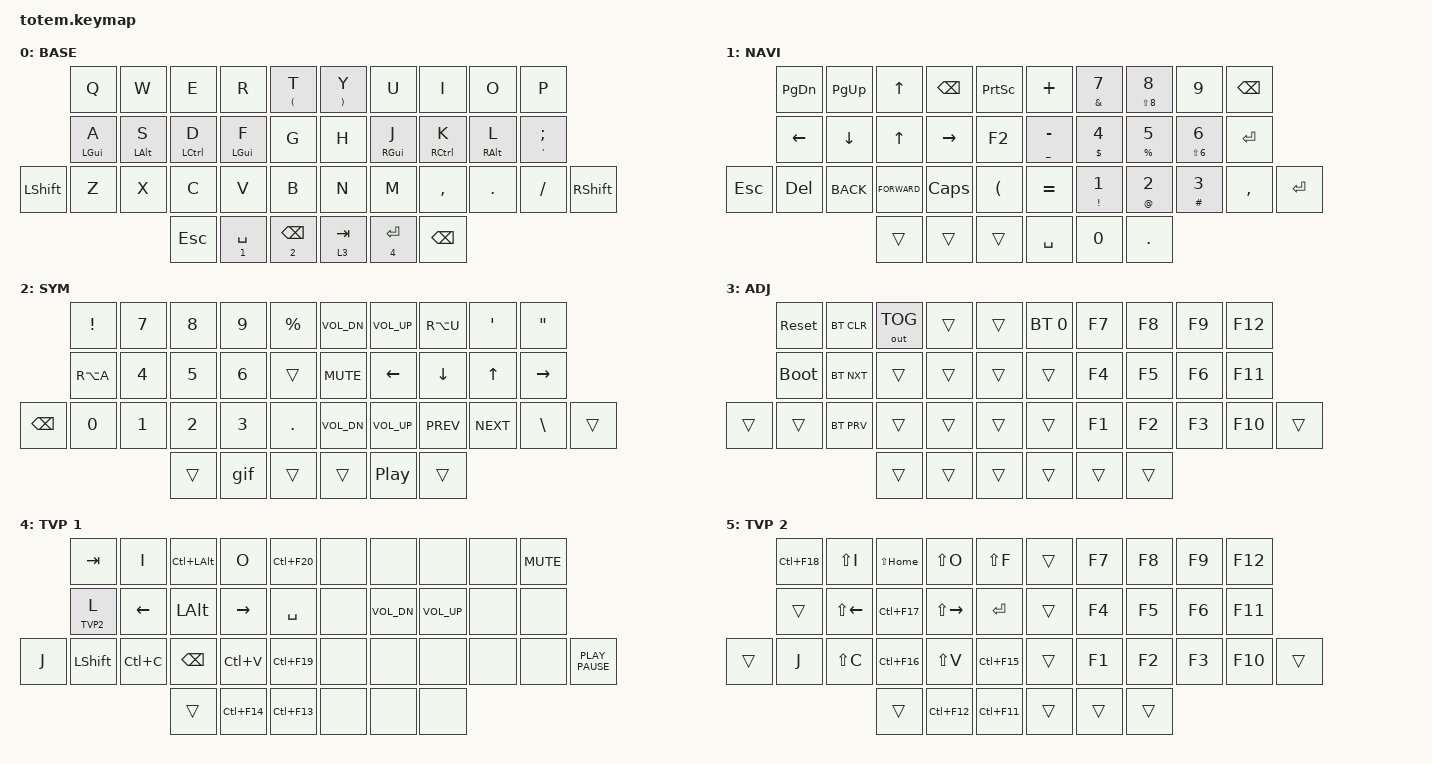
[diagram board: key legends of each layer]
//
//                                                        ▀▀▀▀▀     ▀▀▀▀▀          ▀▀█▀▀
//                                                        ▄▀▀▀▄  ▄  ▄▀▀▀▄  ▄  ▄▀▀▀▄  █  ▄▀▀▀▄
//                                                        █   █  █  █   █  █  █   █  █  █   █
//                                                         ▀▀▀   █   ▀▀▀   █   ▀▀▀   ▀   ▀▀▀
//                                                               █      ▄▄▄█▄▄▄    █   █  
//                                                               ▀      █  █  █     █▄█
//                                                             ▀▀▀▀▀    █  █  █      ▀
//                                                                      ▀  ▀  ▀
//
// ▄▄▄▄▄▄▄▄▄▄▄▄▄▄▄▄▄▄▄▄▄▄▄▄▄▄▄▄▄▄▄▄▄▄▄▄▄▄▄▄▄▄▄▄▄▄▄▄▄▄▄▄▄▄▄▄▄▄▄▄▄▄▄▄▄▄▄▄▄▄▄▄▄▄▄▄▄▄▄▄▄▄▄▄▄▄▄▄▄▄▄▄▄▄▄▄▄▄▄▄▄▄▄▄▄▄▄▄▄▄▄▄▄▄▄▄▄▄▄▄▄▄▄▄▄▄▄▄▄▄▄▄▄▄▄▄▄▄▄▄▄▄▄▄▄▄▄▄▄

#include <behaviors.dtsi>
#include <dt-bindings/zmk/bt.h>
#include <dt-bindings/zmk/keys.h>
#include <dt-bindings/zmk/outputs.h>

#define BASE 0
#define NAV  1
#define SYM  2
#define ADJ  3
#define TVP1 4
#define TVP2 5

&mt {
    quick-tap-ms = <100>;
    global-quick-tap;
    flavor = "tap-preferred";
    tapping-term-ms = <170>;
};

/ {
    combos {
        compatible = "zmk,combos";

        hangle {
            bindings = <&kp LANG_HANGEUL>;
            key-positions = <12 13>;
        };

        BS {
            bindings = <&kp BACKSPACE>;
            key-positions = <17 18>;
        };

        question {
            bindings = <&kp QUESTION>;
            key-positions = <28 29>;
        };

        c+z {
            bindings = <&kp LC(Z)>;
            key-positions = <33 21>;
        };

        c+x {
            bindings = <&kp LC(X)>;
            key-positions = <33 22>;
        };

        c+c {
            bindings = <&kp LC(C)>;
            key-positions = <23 33>;
        };

        c+v {
            bindings = <&kp V>;
            key-positions = <24 33>;
        };

        wave {
            bindings = <&kp TILDE>;
            key-positions = <0 1>;
        };
    };

    macros {
        gif: gif {
            label = "giphy";
            compatible = "zmk,behavior-macro";
            #binding-cells = <0>;
            bindings =
                <&macro_press>,
                <&kp LSHFT>,
                <&macro_tap>,
                <&kp N2>,
                <&macro_release>,
                <&kp LSHFT>,
                <&macro_tap>,
                <&kp G &kp I &kp F>;
        };
    };

    behaviors {
        hm: homerow-mods {
            compatible = "zmk,behavior-hold-tap";
            label = "HOMEROW_MODS";
            bindings = <&kp>, <&kp>;

            #binding-cells = <2>;
            tapping-term-ms = <200>;
            quick-tap-ms = <160>;
            flavor = "tap-preferred";
        };

        retroT: retroT {
            compatible = "zmk,behavior-hold-tap";
            label = "RETROT";
            bindings = <&lt>, <&kp>;

            #binding-cells = <2>;
            tapping-term-ms = <190>;
            quick-tap-ms = <170>;
            flavor = "tap-preferred";
            retro-tap;
        };
    };

    keymap {
        compatible = "zmk,keymap";

        // ▄▄▄▄▄▄▄▄▄▄▄▄▄▄▄▄▄▄▄▄▄▄▄▄▄▄▄▄▄▄▄▄▄▄▄▄▄▄▄▄▄▄▄▄▄▄▄▄▄▄▄▄▄▄▄▄▄▄▄▄▄▄▄▄▄▄▄▄▄▄▄▄▄▄▄▄▄▄▄▄▄▄▄▄▄▄▄▄▄▄▄▄▄▄▄▄▄▄▄▄▄▄▄▄▄▄▄▄▄▄▄▄▄▄▄▄▄▄▄▄▄▄▄▄▄▄▄▄▄▄▄▄▄▄▄▄▄▄▄▄▄▄▄▄▄▄▄▄▄

        base_layer {
            // ┏━━━━━━━━━━━━━━━━━━━━━━━━━━━━━━━━━━━━━━━┓

            label = "BASE";

            // ┗━━━━━━━━━━━━━━━━━━━━━━━━━━━━━━━━━━━━━━━┛
            //             ┏━━━━━━━━━━━┳━━━━━━━━━━━┳━━━━━━━━━━━┳━━━━━━━━━━━┳━━━━━━━━━━━┓   ┏━━━━━━━━━━━┳━━━━━━━━━━━┳━━━━━━━━━━━┳━━━━━━━━━━━┳━━━━━━━━━━━┓
            //             ┃     Q     ┃     W     ┃     F     ┃     P     ┃     G     ┃   ┃     J     ┃     L     ┃     U     ┃     Y     ┃     ;     ┃
            //             ┣━━━━━━━━━━━╋━━━━━━━━━━━╋━━━━━━━━━━━╋━━━━━━━━━━━╋━━━━━━━━━━━┫   ┣━━━━━━━━━━━╋━━━━━━━━━━━╋━━━━━━━━━━━╋━━━━━━━━━━━╋━━━━━━━━━━━┫
            //             ┃     A     ┃     R     ┃     S     ┃     T     ┃     D     ┃   ┃     H     ┃     N     ┃     E     ┃     I     ┃     O     ┃
            // ┏━━━━━━━━━━━╋━━━━━━━━━━━╋━━━━━━━━━━━╋━━━━━━━━━━━╋━━━━━━━━━━━╋━━━━━━━━━━━┫   ┣━━━━━━━━━━━╋━━━━━━━━━━━╋━━━━━━━━━━━╋━━━━━━━━━━━╋━━━━━━━━━━━╋━━━━━━━━━━━┓
            // ┃     Q     ┃     Z     ┃     X     ┃     C     ┃     V     ┃     B     ┃   ┃     K     ┃     M     ┃     ,     ┃     .     ┃     /     ┃     \     ┃
            // ┗━━━━━━━━━━━┻━━━━━━━━━━━┻━━━━━━━━━━━╋━━━━━━━━━━━╋━━━━━━━━━━━╋━━━━━━━━━━━┫   ┣━━━━━━━━━━━╋━━━━━━━━━━━╋━━━━━━━━━━━╋━━━━━━━━━━━┻━━━━━━━━━━━┻━━━━━━━━━━━┛
            //                                     ┃    DEL    ┃    TAB    ┃    SPC    ┃   ┃   ENTER   ┃           ┃   BSPC    ┃
            //                                     ┗━━━━━━━━━━━┻━━━━━━━━━━━┻━━━━━━━━━━━┛   ┗━━━━━━━━━━━┻━━━━━━━━━━━┻━━━━━━━━━━━┛

            bindings = <
                &kp Q       &kp W       &kp E        &kp R            &mt LEFT_PARENTHESIS T    &mt RIGHT_PARENTHESIS Y  &kp U            &kp I        &kp O       &kp P
                &hm LGUI A  &hm LALT S  &mt LCTRL D  &hm LGUI F       &kp G                     &kp H                    &hm RIGHT_GUI J  &hm RCTRL K  &hm RALT L  &mt SQT SEMICOLON
&kp LEFT_SHIFT  &kp Z       &kp X       &kp C        &kp V            &kp B                     &kp N                    &kp M            &kp COMMA    &kp DOT     &kp FSLH           &kp RIGHT_SHIFT
                                        &kp ESC      &retroT 1 SPACE  &retroT 2 BACKSPACE       &lt 3 TAB                &retroT 4 ENTER  &kp BSPC
            >;
        };

        // ▄▄▄▄▄▄▄▄▄▄▄▄▄▄▄▄▄▄▄▄▄▄▄▄▄▄▄▄▄▄▄▄▄▄▄▄▄▄▄▄▄▄▄▄▄▄▄▄▄▄▄▄▄▄▄▄▄▄▄▄▄▄▄▄▄▄▄▄▄▄▄▄▄▄▄▄▄▄▄▄▄▄▄▄▄▄▄▄▄▄▄▄▄▄▄▄▄▄▄▄▄▄▄▄▄▄▄▄▄▄▄▄▄▄▄▄▄▄▄▄▄▄▄▄▄▄▄▄▄▄▄▄▄▄▄▄▄▄▄▄▄▄▄▄▄▄▄▄▄

        nav_layer {
            // ┏━━━━━━━━━━━━━━━━━━━━━━━━━━━━━━━━━━━━━━━┓

            label = "NAVI";

            // ┗━━━━━━━━━━━━━━━━━━━━━━━━━━━━━━━━━━━━━━━┛
            //             ┏━━━━━━━━━━━┳━━━━━━━━━━━┳━━━━━━━━━━━┳━━━━━━━━━━━┳━━━━━━━━━━━┓   ┏━━━━━━━━━━━┳━━━━━━━━━━━┳━━━━━━━━━━━┳━━━━━━━━━━━┳━━━━━━━━━━━┓
            //             ┃           ┃           ┃     UP    ┃           ┃     {     ┃   ┃     }     ┃     7     ┃     8     ┃     9     ┃     +     ┃
            //             ┣━━━━━━━━━━━╋━━━━━━━━━━━╋━━━━━━━━━━━╋━━━━━━━━━━━╋━━━━━━━━━━━┫   ┣━━━━━━━━━━━╋━━━━━━━━━━━╋━━━━━━━━━━━╋━━━━━━━━━━━╋━━━━━━━━━━━┫
            //             ┃   SHIFT   ┃   LEFT    ┃    DOWN   ┃   RIGHT   ┃     [     ┃   ┃     ]     ┃     4     ┃     5     ┃     6     ┃     -     ┃
            // ┏━━━━━━━━━━━╋━━━━━━━━━━━╋━━━━━━━━━━━╋━━━━━━━━━━━╋━━━━━━━━━━━╋━━━━━━━━━━━┫   ┣━━━━━━━━━━━╋━━━━━━━━━━━╋━━━━━━━━━━━╋━━━━━━━━━━━╋━━━━━━━━━━━╋━━━━━━━━━━━┓
            // ┃           ┃           ┃   P UP    ┃  C LOCK   ┃  P DOWN   ┃     (     ┃   ┃     )     ┃     1     ┃     2     ┃     3     ┃     *     ┃           ┃
            // ┗━━━━━━━━━━━┻━━━━━━━━━━━┻━━━━━━━━━━━╋━━━━━━━━━━━╋━━━━━━━━━━━╋━━━━━━━━━━━┫   ┣━━━━━━━━━━━╋━━━━━━━━━━━╋━━━━━━━━━━━╋━━━━━━━━━━━┻━━━━━━━━━━━┻━━━━━━━━━━━┛
            //                                     ┃           ┃    TAB    ┃    SPC    ┃   ┃    DEL    ┃     0     ┃           ┃
            //                                     ┗━━━━━━━━━━━┻━━━━━━━━━━━┻━━━━━━━━━━━┛   ┗━━━━━━━━━━━┻━━━━━━━━━━━┻━━━━━━━━━━━┛

            bindings = <
         &kp PAGE_DOWN  &kp PAGE_UP  &kp UP         &kp BACKSPACE  &kp PRINTSCREEN    &kp PLUS         &mt AMPERSAND N7          &mt LS(N8) N8         &kp N9                     &kp BACKSPACE
         &kp LEFT       &kp DOWN     &kp UP_ARROW   &kp RIGHT      &kp F2             &mt UNDER MINUS  &mt DOLLAR NUMBER_4       &mt PERCENT N5        &mt LS(NUMBER_6) NUMBER_6  &kp ENTER
&kp ESC  &kp DEL        &kp K_BACK   &kp K_FORWARD  &kp CAPS       &kp LPAR           &kp EQUAL        &mt EXCLAMATION NUMBER_1  &mt AT_SIGN NUMBER_2  &mt HASH NUMBER_3          &kp COMMA      &kp ENTER
                                     &trans         &trans         &trans             &kp SPACE        &kp N0                    &kp DOT
            >;
        };

        // ▄▄▄▄▄▄▄▄▄▄▄▄▄▄▄▄▄▄▄▄▄▄▄▄▄▄▄▄▄▄▄▄▄▄▄▄▄▄▄▄▄▄▄▄▄▄▄▄▄▄▄▄▄▄▄▄▄▄▄▄▄▄▄▄▄▄▄▄▄▄▄▄▄▄▄▄▄▄▄▄▄▄▄▄▄▄▄▄▄▄▄▄▄▄▄▄▄▄▄▄▄▄▄▄▄▄▄▄▄▄▄▄▄▄▄▄▄▄▄▄▄▄▄▄▄▄▄▄▄▄▄▄▄▄▄▄▄▄▄▄▄▄▄▄▄▄▄▄▄

        sim_layer {
            // ┏━━━━━━━━━━━━━━━━━━━━━━━━━━━━━━━━━━━━━━━┓

            label = "SYM";

            // ┗━━━━━━━━━━━━━━━━━━━━━━━━━━━━━━━━━━━━━━━┛
            //             ┏━━━━━━━━━━━┳━━━━━━━━━━━┳━━━━━━━━━━━┳━━━━━━━━━━━┳━━━━━━━━━━━┓   ┏━━━━━━━━━━━┳━━━━━━━━━━━┳━━━━━━━━━━━┳━━━━━━━━━━━┳━━━━━━━━━━━┓
            //             ┃     !     ┃     @     ┃     #     ┃     $     ┃     %     ┃   ┃     ˆ     ┃     &     ┃     Ü     ┃     '     ┃     "     ┃
            //             ┣━━━━━━━━━━━╋━━━━━━━━━━━╋━━━━━━━━━━━╋━━━━━━━━━━━╋━━━━━━━━━━━┫   ┣━━━━━━━━━━━╋━━━━━━━━━━━╋━━━━━━━━━━━╋━━━━━━━━━━━╋━━━━━━━━━━━┫
            //             ┃     Ä     ┃           ┃    SZ     ┃           ┃           ┃   ┃   MUTE    ┃   YEN     ┃   EURO    ┃  POUND    ┃     Ö     ┃
            // ┏━━━━━━━━━━━╋━━━━━━━━━━━╋━━━━━━━━━━━╋━━━━━━━━━━━╋━━━━━━━━━━━╋━━━━━━━━━━━┫   ┣━━━━━━━━━━━╋━━━━━━━━━━━╋━━━━━━━━━━━╋━━━━━━━━━━━╋━━━━━━━━━━━╋━━━━━━━━━━━┓
            // ┃           ┃  EMAIL1   ┃  EMAIL2   ┃           ┃           ┃           ┃   ┃   VOL-    ┃   VOL+    ┃   LAST    ┃   NEXT    ┃     \     ┃           ┃
            // ┗━━━━━━━━━━━┻━━━━━━━━━━━┻━━━━━━━━━━━╋━━━━━━━━━━━╋━━━━━━━━━━━╋━━━━━━━━━━━┫   ┣━━━━━━━━━━━╋━━━━━━━━━━━╋━━━━━━━━━━━╋━━━━━━━━━━━┻━━━━━━━━━━━┻━━━━━━━━━━━┛
            //                                     ┃           ┃    GIF    ┃    ADJ    ┃   ┃           ┃           ┃           ┃
            //                                     ┗━━━━━━━━━━━┻━━━━━━━━━━━┻━━━━━━━━━━━┛   ┗━━━━━━━━━━━┻━━━━━━━━━━━┻━━━━━━━━━━━┛

            bindings = <
               &kp EXCL   &kp N7        &kp N8        &kp N9        &kp PRCNT    &kp C_VOL_DN  &kp C_VOLUME_UP  &kp RA(U)   &kp SQT       &kp DQT
               &kp RA(A)  &kp NUMBER_4  &kp N5        &kp NUMBER_6  &trans       &kp C_MUTE    &kp LEFT         &kp DOWN    &kp UP_ARROW  &kp RIGHT
&kp BACKSPACE  &kp N0     &kp NUMBER_1  &kp NUMBER_2  &kp NUMBER_3  &kp DOT      &kp C_VOL_DN  &kp C_VOL_UP     &kp C_PREV  &kp C_NEXT    &kp BSLH   &trans
                                        &trans        &gif          &trans       &trans        &kp C_PP         &trans
            >;
        };

        // ▄▄▄▄▄▄▄▄▄▄▄▄▄▄▄▄▄▄▄▄▄▄▄▄▄▄▄▄▄▄▄▄▄▄▄▄▄▄▄▄▄▄▄▄▄▄▄▄▄▄▄▄▄▄▄▄▄▄▄▄▄▄▄▄▄▄▄▄▄▄▄▄▄▄▄▄▄▄▄▄▄▄▄▄▄▄▄▄▄▄▄▄▄▄▄▄▄▄▄▄▄▄▄▄▄▄▄▄▄▄▄▄▄▄▄▄▄▄▄▄▄▄▄▄▄▄▄▄▄▄▄▄▄▄▄▄▄▄▄▄▄▄▄▄▄▄▄▄▄

        adjust_layer {
            // ┏━━━━━━━━━━━━━━━━━━━━━━━━━━━━━━━━━━━━━━━┓

            label = "ADJ";

            // ┗━━━━━━━━━━━━━━━━━━━━━━━━━━━━━━━━━━━━━━━┛
            //             ┏━━━━━━━━━━━┳━━━━━━━━━━━┳━━━━━━━━━━━┳━━━━━━━━━━━┳━━━━━━━━━━━┓   ┏━━━━━━━━━━━┳━━━━━━━━━━━┳━━━━━━━━━━━┳━━━━━━━━━━━┳━━━━━━━━━━━┓
            //             ┃   RESET   ┃ BT CLEAR  ┃  OUT TOG  ┃           ┃           ┃   ┃           ┃    F7     ┃    F8     ┃    F9     ┃    F12    ┃
            //             ┣━━━━━━━━━━━╋━━━━━━━━━━━╋━━━━━━━━━━━╋━━━━━━━━━━━╋━━━━━━━━━━━┫   ┣━━━━━━━━━━━╋━━━━━━━━━━━╋━━━━━━━━━━━╋━━━━━━━━━━━╋━━━━━━━━━━━┫
            //             ┃ BOOTLOAD  ┃ BT NEXT   ┃           ┃           ┃           ┃   ┃           ┃    F4     ┃    F5     ┃    F6     ┃    F11    ┃
            // ┏━━━━━━━━━━━╋━━━━━━━━━━━╋━━━━━━━━━━━╋━━━━━━━━━━━╋━━━━━━━━━━━╋━━━━━━━━━━━┫   ┣━━━━━━━━━━━╋━━━━━━━━━━━╋━━━━━━━━━━━╋━━━━━━━━━━━╋━━━━━━━━━━━╋━━━━━━━━━━━┓
            // ┃           ┃           ┃ BT PREV   ┃           ┃           ┃           ┃   ┃           ┃    F1     ┃    F2     ┃    F3     ┃    F10    ┃           ┃
            // ┗━━━━━━━━━━━┻━━━━━━━━━━━┻━━━━━━━━━━━╋━━━━━━━━━━━╋━━━━━━━━━━━╋━━━━━━━━━━━┫   ┣━━━━━━━━━━━╋━━━━━━━━━━━╋━━━━━━━━━━━╋━━━━━━━━━━━┻━━━━━━━━━━━┻━━━━━━━━━━━┛
            //                                     ┃           ┃           ┃           ┃   ┃           ┃           ┃           ┃
            //                                     ┗━━━━━━━━━━━┻━━━━━━━━━━━┻━━━━━━━━━━━┛   ┗━━━━━━━━━━━┻━━━━━━━━━━━┻━━━━━━━━━━━┛

            bindings = <
        &sys_reset   &bt BT_CLR  &out OUT_TOG  &trans  &trans    &bt BT_SEL 0  &kp F7  &kp F8  &kp F9  &kp F12
        &bootloader  &bt BT_NXT  &trans        &trans  &trans    &trans        &kp F4  &kp F5  &kp F6  &kp F11
&trans  &trans       &bt BT_PRV  &trans        &trans  &trans    &trans        &kp F1  &kp F2  &kp F3  &kp F10  &trans
                                 &trans        &trans  &trans    &trans        &trans  &trans
            >;
        };

        // ▄▄▄▄▄▄▄▄▄▄▄▄▄▄▄▄▄▄▄▄▄▄▄▄▄▄▄▄▄▄▄▄▄▄▄▄▄▄▄▄▄▄▄▄▄▄▄▄▄▄▄▄▄▄▄▄▄▄▄▄▄▄▄▄▄▄▄▄▄▄▄▄▄▄▄▄▄▄▄▄▄▄▄▄▄▄▄▄▄▄▄▄▄▄▄▄▄▄▄▄▄▄▄▄▄▄▄▄▄▄▄▄▄▄▄▄▄▄▄▄▄▄▄▄▄▄▄▄▄▄▄▄▄▄▄▄▄▄▄▄▄▄▄▄▄▄▄▄▄

        tvp1_layer {
            // ┏━━━━━━━━━━━━━━━━━━━━━━━━━━━━━━━━━━━━━━━┓

            label = "TVP 1";

            // ┗━━━━━━━━━━━━━━━━━━━━━━━━━━━━━━━━━━━━━━━┛
            //             ┏━━━━━━━━━━━┳━━━━━━━━━━━┳━━━━━━━━━━━┳━━━━━━━━━━━┳━━━━━━━━━━━┓   ┏━━━━━━━━━━━┳━━━━━━━━━━━┳━━━━━━━━━━━┳━━━━━━━━━━━┳━━━━━━━━━━━┓
            //             ┃ NEXT FILE ┃ MARK IN   ┃ ROTATE    ┃ MARK OUT  ┃ SHOW SNAP ┃   ┃           ┃           ┃           ┃           ┃           ┃
            //             ┣━━━━━━━━━━━╋━━━━━━━━━━━╋━━━━━━━━━━━╋━━━━━━━━━━━╋━━━━━━━━━━━┫   ┣━━━━━━━━━━━╋━━━━━━━━━━━╋━━━━━━━━━━━╋━━━━━━━━━━━╋━━━━━━━━━━━┫
            //             ┃ TVP II    ┃ LEFT      ┃ PAN       ┃ RIGHT     ┃ PLAY/FLIP ┃   ┃           ┃           ┃           ┃           ┃           ┃
            // ┏━━━━━━━━━━━╋━━━━━━━━━━━╋━━━━━━━━━━━╋━━━━━━━━━━━╋━━━━━━━━━━━╋━━━━━━━━━━━┫   ┣━━━━━━━━━━━╋━━━━━━━━━━━╋━━━━━━━━━━━╋━━━━━━━━━━━╋━━━━━━━━━━━╋━━━━━━━━━━━┓
            // ┃ FULLSCR   ┃ SHIFT     ┃ COPY      ┃ DELETE    ┃ PASTE     ┃ IMG MARK  ┃   ┃           ┃           ┃           ┃           ┃           ┃           ┃
            // ┗━━━━━━━━━━━┻━━━━━━━━━━━┻━━━━━━━━━━━╋━━━━━━━━━━━╋━━━━━━━━━━━╋━━━━━━━━━━━┫   ┣━━━━━━━━━━━╋━━━━━━━━━━━╋━━━━━━━━━━━╋━━━━━━━━━━━┻━━━━━━━━━━━┻━━━━━━━━━━━┛
            //                                     ┃           ┃ UNDO/SAVE ┃  SEL/MOV  ┃   ┃           ┃           ┃           ┃
            //                                     ┗━━━━━━━━━━━┻━━━━━━━━━━━┻━━━━━━━━━━━┛   ┗━━━━━━━━━━━┻━━━━━━━━━━━┻━━━━━━━━━━━┛

            bindings = <
       &kp TAB     &kp I      &kp LC(LALT)  &kp O        &kp LC(F20)    &none  &none         &none         &none  &kp K_MUTE
       &lt TVP2 L  &kp LEFT   &kp LALT      &kp RIGHT    &kp SPACE      &none  &kp C_VOL_DN  &kp C_VOL_UP  &none  &none
&kp J  &kp LSHFT   &kp LC(C)  &kp BSPC      &kp LC(V)    &kp LC(F19)    &none  &none         &none         &none  &none       &kp K_PLAY_PAUSE
                              &trans        &kp LC(F14)  &kp LC(F13)    &none  &none         &none
            >;
        };

        // ▄▄▄▄▄▄▄▄▄▄▄▄▄▄▄▄▄▄▄▄▄▄▄▄▄▄▄▄▄▄▄▄▄▄▄▄▄▄▄▄▄▄▄▄▄▄▄▄▄▄▄▄▄▄▄▄▄▄▄▄▄▄▄▄▄▄▄▄▄▄▄▄▄▄▄▄▄▄▄▄▄▄▄▄▄▄▄▄▄▄▄▄▄▄▄▄▄▄▄▄▄▄▄▄▄▄▄▄▄▄▄▄▄▄▄▄▄▄▄▄▄▄▄▄▄▄▄▄▄▄▄▄▄▄▄▄▄▄▄▄▄▄▄▄▄▄▄▄▄

        tvp2_layer {
            // ┏━━━━━━━━━━━━━━━━━━━━━━━━━━━━━━━━━━━━━━━┓

            label = "TVP 2";

            // ┗━━━━━━━━━━━━━━━━━━━━━━━━━━━━━━━━━━━━━━━┛
            //             ┏━━━━━━━━━━━┳━━━━━━━━━━━┳━━━━━━━━━━━┳━━━━━━━━━━━┳━━━━━━━━━━━┓   ┏━━━━━━━━━━━┳━━━━━━━━━━━┳━━━━━━━━━━━┳━━━━━━━━━━━┳━━━━━━━━━━━┓
            //             ┃ SOLO      ┃ TOGGLE IN ┃ RESET ROT ┃ TOGGLE OUT┃ TAKE SNAP ┃   ┃           ┃           ┃           ┃           ┃           ┃
            //             ┣━━━━━━━━━━━╋━━━━━━━━━━━╋━━━━━━━━━━━╋━━━━━━━━━━━╋━━━━━━━━━━━┫   ┣━━━━━━━━━━━╋━━━━━━━━━━━╋━━━━━━━━━━━╋━━━━━━━━━━━╋━━━━━━━━━━━┫
            //             ┃ ---       ┃ LAST KEY  ┃ NEW KEY   ┃ NEXT KEY  ┃ ENTER     ┃   ┃           ┃           ┃           ┃           ┃           ┃
            // ┏━━━━━━━━━━━╋━━━━━━━━━━━╋━━━━━━━━━━━╋━━━━━━━━━━━╋━━━━━━━━━━━╋━━━━━━━━━━━┫   ┣━━━━━━━━━━━╋━━━━━━━━━━━╋━━━━━━━━━━━╋━━━━━━━━━━━╋━━━━━━━━━━━╋━━━━━━━━━━━┓
            // ┃           ┃ FULLSCR   ┃ CPY2BRUSH ┃ DEL HEAD  ┃ PSTinPLACE┃ BOOK MARK ┃   ┃           ┃           ┃           ┃           ┃           ┃           ┃
            // ┗━━━━━━━━━━━┻━━━━━━━━━━━┻━━━━━━━━━━━╋━━━━━━━━━━━╋━━━━━━━━━━━╋━━━━━━━━━━━┫   ┣━━━━━━━━━━━╋━━━━━━━━━━━╋━━━━━━━━━━━╋━━━━━━━━━━━┻━━━━━━━━━━━┻━━━━━━━━━━━┛
            //                                     ┃           ┃ REDO/SAV1 ┃TRANS/WARP ┃   ┃           ┃           ┃           ┃
            //                                     ┗━━━━━━━━━━━┻━━━━━━━━━━━┻━━━━━━━━━━━┛   ┗━━━━━━━━━━━┻━━━━━━━━━━━┻━━━━━━━━━━━┛

            bindings = <
        &kp LC(F18)  &kp LS(I)     &kp LS(HOME)  &kp LS(O)      &kp LS(F)      &trans  &kp F7  &kp F8  &kp F9  &kp F12
        &trans       &kp LS(LEFT)  &kp LC(F17)   &kp LS(RIGHT)  &kp RET        &trans  &kp F4  &kp F5  &kp F6  &kp F11
&trans  &kp J        &kp LS(C)     &kp LC(F16)   &kp LS(V)      &kp LC(F15)    &trans  &kp F1  &kp F2  &kp F3  &kp F10  &trans
                                   &trans        &kp LC(F12)    &kp LC(F11)    &trans  &trans  &trans
            >;
        };
    };
};
